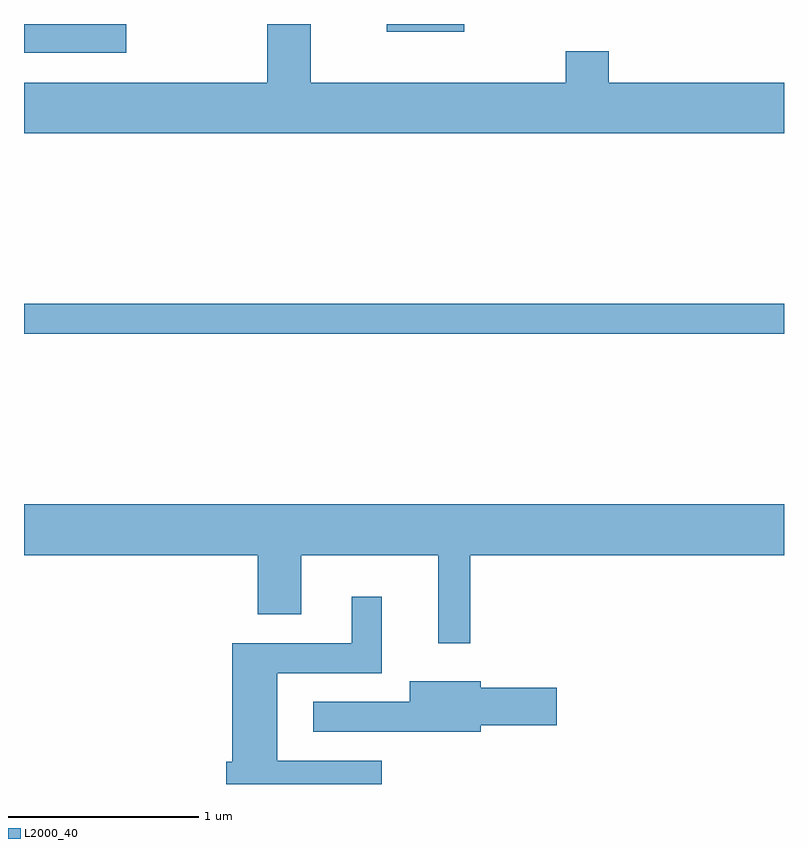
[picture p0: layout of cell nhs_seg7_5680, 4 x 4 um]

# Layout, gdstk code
import gdstk
lib = gdstk.Library(unit=1e-6, precision=1e-09)
def R(c, l, rs):  # rectangles x0, y0, x1, y1
    for r in rs: c.add(gdstk.rectangle(r[:2], r[2:], *l))
def P(c, l, *ps):  # polygons
    for p in ps: c.add(gdstk.Polygon(p, *l))
L2000_40 = (2000, 40)

nhs_seg7_5680 = lib.new_cell('nhs_seg7_5680')
R(nhs_seg7_5680, L2000_40, [(359.611,1686.621,363.611,1686.779), (359.611,1688.101,360.149,1688.252), (361.521,1688.211,361.928,1688.252)])
P(nhs_seg7_5680, L2000_40, [(363.611,1687.944),(362.689,1687.944),(362.689,1688.109),(362.461,1688.109),(362.461,1687.944),(361.119,1687.944),(361.119,1688.252),(360.891,1688.252),(360.891,1687.944),(359.611,1687.944),(359.611,1687.676),(363.611,1687.676)],
  [(361.959,1685.456),(363.611,1685.456),(363.611,1685.724),(359.611,1685.724),(359.611,1685.456),(360.841,1685.456),(360.841,1685.146),(361.069,1685.146),(361.069,1685.456),(361.791,1685.456),(361.791,1684.993),(361.959,1684.993)],
  [(361.494,1684.374),(360.944,1684.374),(360.944,1684.836),(361.494,1684.836),(361.494,1685.238),(361.336,1685.238),(361.336,1684.994),(360.706,1684.994),(360.706,1684.369),(360.676,1684.369),(360.676,1684.252),(361.494,1684.252)],
  [(362.014,1684.561),(362.414,1684.561),(362.414,1684.759),(362.014,1684.759),(362.014,1684.794),(361.641,1684.794),(361.641,1684.684),(361.133,1684.684),(361.133,1684.526),(362.014,1684.526)])

lib.write_gds('nhs_seg7_5680.gds')
